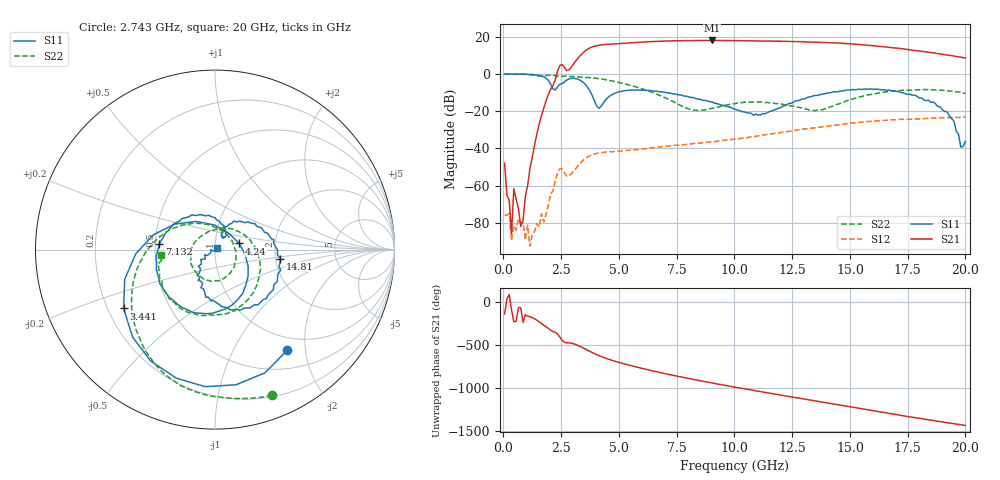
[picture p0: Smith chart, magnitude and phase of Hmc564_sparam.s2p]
!Hittite Microwave Corporation
!20 Alpha Rd
!Chelmsford, MA 01824
!Tel: 978-250-3343
!Fax: 978-250-3373
!Device: HMC564, 7 - 12 GHz GaAs PHEMT MMIC LNA DIE; Measuremments were performed with part mounted on gold plate
!RF IN and OUT were connected to 50 Ohms substrates via two  1 mil diameter bondwires
!Misc:Bias: +3VDC; T= +25C;
# GHZ S DB R 50.0
!Freq (GHz)	S11 (mag)	S11 (ph)	S21 (mag)	S21 (ph)	S12 (mag)	S12 (ph)	S22 (mag)	S22 (ph)
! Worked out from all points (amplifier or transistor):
!   201 points, 50 MHz to 20 GHz, reference 50 ohm
!   highest |S21| = 18.0 dB at 9.028 GHz (marker M1)
!   |S21| within 3 dB of that: 3.967 GHz to 16.13 GHz (12.17 GHz wide, 121 % of centre)
!   unconditionally stable (mu >= 1): 149.7 MHz to end of sweep
!   at 3.342 GHz: K = 6.07, MAG = 18.1 dB, |S12| = -47.7 dB
!   at 10.02 GHz: K = 3.48, MAG = 18.1 dB, |S12| = -35.0 dB
!   at 20 GHz: K = 2.53, MAG = 9.1 dB, |S12| = -23.2 dB
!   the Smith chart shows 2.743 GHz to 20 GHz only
!   S11 on the Smith chart (normalised r, x): 2.743 GHz: 0.78, -1.67; 3.441 GHz: 0.27, -0.27; 4.24 GHz: 1.31, +0.09; 7.132 GHz: 0.52, +0.04; 14.81 GHz: 2.12, -0.25; 20 GHz: 1.02, +0.02
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0.05  0.00 -2.4  -47.98 -135.5  -75.70 17.4  -0.01 -1.3
0.848  -0.09 -40.5  -78.94 125.5  -79.79 66.0  -0.13 -22.8
2.34425  -6.78 19.5  1.76 -11.6  -53.21 61.9  -1.17 -60.4
2.74325  -3.22 -54.5  1.83 -113.9  -54.91 -51.4  -1.19 -68.6
3.4415  -4.36 -147.2  11.36 -171.9  -46.50 -100.3  -1.70 -88.4
3.74075  -9.07 166.3  14.02 146.8  -44.04 -135.9  -1.94 -97.7
4.2395  -17.10 14.2  15.65 85.9  -42.31 172.7  -2.67 -114.8
4.73825  -10.76 -58.0  16.14 38.9  -41.79 138.2  -3.86 -131.7
5.33675  -8.87 -97.4  16.60 -7.2  -41.10 107.2  -5.59 -151.9
6.035  -8.69 -134.3  17.16 -54.6  -40.35 78.9  -8.13 -176.7
6.73325  -9.55 -167.1  17.59 -97.8  -39.34 53.4  -11.30 155.9
7.13225  -10.10 174.4  17.77 -121.5  -38.78 40.3  -13.55 137.7
8.03  -12.33 132.7  17.96 -171.3  -37.74 12.6  -18.83 74.9
9.0275  -15.00 89.5  18.03 137.1  -36.46 -14.3  -18.52 -10.1
10.12475  -19.30 56.6  17.96 83.2  -34.97 -41.9  -15.67 -70.0
11.72075  -19.39 66.7  17.67 8.5  -31.99 -85.6  -15.77 -135.3
13.4165  -11.73 33.8  17.13 -69.0  -29.09 -137.7  -19.65 125.1
14.813  -8.70 -7.8  16.40 -133.7  -26.87 177.7  -14.62 25.5
15.71075  -8.15 -36.9  15.55 -175.1  -25.64 146.2  -11.47 -19.5
16.70825  -8.74 -68.1  14.31 140.2  -24.82 111.3  -9.46 -59.0
18.6035  -15.14 -124.6  11.35 57.5  -23.74 46.1  -8.54 -126.0
20  -36.26 41.4  8.63 -0.2  -23.22 -1.8  -10.38 -174.2
